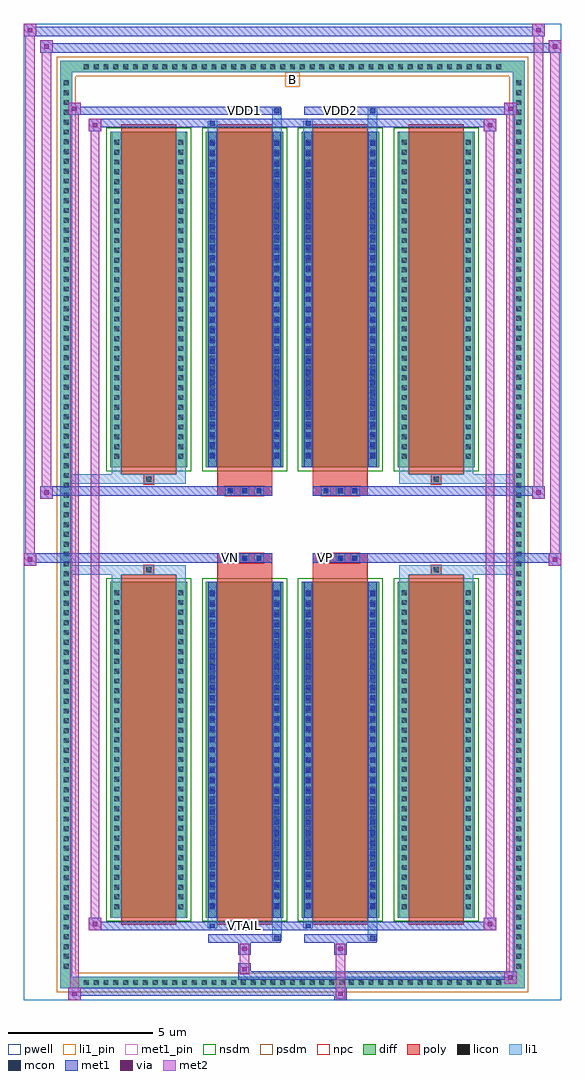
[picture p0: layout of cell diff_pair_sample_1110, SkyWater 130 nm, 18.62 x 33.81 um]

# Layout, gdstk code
import gdstk
lib = gdstk.Library(unit=1e-6, precision=5e-09)
def R(c, l, rs):  # rectangles x0, y0, x1, y1
    for r in rs: c.add(gdstk.rectangle(r[:2], r[2:], *l))
def A(c, l, x, y, w, h, nx, ny, dx, dy):  # array of equal rectangles
    R(c, l, [(x+i*dx, y+j*dy, x+i*dx+w, y+j*dy+h) for i in range(nx) for j in range(ny)])
def P(c, l, *ps):  # polygons
    for p in ps: c.add(gdstk.Polygon(p, *l))
pwell = (64, 44)
diff = (65, 20)
poly = (66, 20)
licon = (66, 44)
li1_pin = (67, 16)
li1 = (67, 20)
mcon = (67, 44)
met1_pin = (68, 16)
met1 = (68, 20)
via = (68, 44)
met2 = (69, 20)
nsdm = (93, 44)
psdm = (94, 20)
npc = (95, 20)

diff_pair_sample_1110 = lib.new_cell('diff_pair_sample_1110')
R(diff_pair_sample_1110, pwell, [(-9.31,-16.47,9.31,17.34), (-6.63,-14.66,-0.01,-0.8), (0.01,-14.66,6.63,-0.8), (-6.63,0.8,-0.01,14.66), (0.01,0.8,6.63,14.66)])
A(diff_pair_sample_1110, diff, -7.345, -16.07, 0.41, 0.41, 43, 2, 0.34, 31.73)
A(diff_pair_sample_1110, diff, -8.04, -15.505, 0.41, 0.41, 1, 91, 0, 0.34)
A(diff_pair_sample_1110, diff, 7.63, -15.505, 0.41, 0.41, 1, 91, 0, 0.34)
A(diff_pair_sample_1110, diff, -6.32, -13.615, 2.68, 11.63, 4, 2, 3.32, 15.6)
R(diff_pair_sample_1110, diff, [(-7.345,-16.07,7.345,-15.66), (-8.04,-15.505,-7.63,15.505), (7.63,-15.505,8.04,15.505), (-7.345,15.66,7.345,16.07)])
P(diff_pair_sample_1110, diff, [(8.04,16.07),(-8.04,16.07),(-8.04,-15.66),(-7.63,-15.66),(-7.63,15.66),(7.63,15.66),(7.63,-15.66),(-7.63,-15.66),(-8.04,-15.66),(-8.04,-16.07),(8.04,-16.07)])
A(diff_pair_sample_1110, poly, -5.93, -13.865, 1.9, 12.13, 4, 2, 3.32, 15.6)
A(diff_pair_sample_1110, poly, -2.325, -1.33, 0.33, 0.33, 3, 2, 0.5, 2.33)
A(diff_pair_sample_1110, poly, 0.995, -1.33, 0.33, 0.33, 3, 2, 0.5, 2.33)
R(diff_pair_sample_1110, poly, [(-5.145,-1.735,-4.815,-1.405), (-5.145,-1.735,-4.815,-1.405), (-2.61,-1.735,-0.71,-1.33), (0.71,-1.735,2.61,-1.33), (4.815,-1.735,5.145,-1.405), (4.815,-1.735,5.145,-1.405), (-2.61,-1.33,-0.71,-1), (0.71,-1.33,2.61,-1), (-2.61,1,-0.71,1.33), (0.71,1,2.61,1.33), (-2.61,1.33,-0.71,1.735), (0.71,1.33,2.61,1.735), (-5.145,1.405,-4.815,1.735), (-5.145,1.405,-4.815,1.735), (4.815,1.405,5.145,1.735), (4.815,1.405,5.145,1.735)])
A(diff_pair_sample_1110, licon, -7.225, -15.95, 0.17, 0.17, 43, 2, 0.34, 31.73)
A(diff_pair_sample_1110, licon, -7.92, -15.385, 0.17, 0.17, 1, 91, 0, 0.34)
A(diff_pair_sample_1110, licon, 7.75, -15.385, 0.17, 0.17, 1, 91, 0, 0.34)
A(diff_pair_sample_1110, licon, -6.18, -13.325, 0.17, 0.17, 1, 33, 0, 0.34)
A(diff_pair_sample_1110, licon, -3.95, -13.325, 0.17, 0.17, 1, 33, 0, 0.34)
A(diff_pair_sample_1110, licon, -2.86, -13.325, 0.17, 0.17, 1, 33, 0, 0.34)
A(diff_pair_sample_1110, licon, -0.63, -13.325, 0.17, 0.17, 1, 33, 0, 0.34)
A(diff_pair_sample_1110, licon, 0.46, -13.325, 0.17, 0.17, 1, 33, 0, 0.34)
A(diff_pair_sample_1110, licon, 2.69, -13.325, 0.17, 0.17, 1, 33, 0, 0.34)
A(diff_pair_sample_1110, licon, 3.78, -13.325, 0.17, 0.17, 1, 33, 0, 0.34)
A(diff_pair_sample_1110, licon, 6.01, -13.325, 0.17, 0.17, 1, 33, 0, 0.34)
A(diff_pair_sample_1110, licon, -2.245, -1.25, 0.17, 0.17, 3, 2, 0.5, 2.33)
A(diff_pair_sample_1110, licon, 1.075, -1.25, 0.17, 0.17, 3, 2, 0.5, 2.33)
A(diff_pair_sample_1110, licon, -6.18, 2.275, 0.17, 0.17, 1, 33, 0, 0.34)
A(diff_pair_sample_1110, licon, -3.95, 2.275, 0.17, 0.17, 1, 33, 0, 0.34)
A(diff_pair_sample_1110, licon, -2.86, 2.275, 0.17, 0.17, 1, 33, 0, 0.34)
A(diff_pair_sample_1110, licon, -0.63, 2.275, 0.17, 0.17, 1, 33, 0, 0.34)
A(diff_pair_sample_1110, licon, 0.46, 2.275, 0.17, 0.17, 1, 33, 0, 0.34)
A(diff_pair_sample_1110, licon, 2.69, 2.275, 0.17, 0.17, 1, 33, 0, 0.34)
A(diff_pair_sample_1110, licon, 3.78, 2.275, 0.17, 0.17, 1, 33, 0, 0.34)
A(diff_pair_sample_1110, licon, 6.01, 2.275, 0.17, 0.17, 1, 33, 0, 0.34)
R(diff_pair_sample_1110, licon, [(-5.065,-1.655,-4.895,-1.485), (4.895,-1.655,5.065,-1.485), (-5.065,1.485,-4.895,1.655), (4.895,1.485,5.065,1.655)])
R(diff_pair_sample_1110, li1_pin, [(-0.25,15.16,0.25,15.66)])
A(diff_pair_sample_1110, li1, -7.305, -16.03, 0.33, 0.33, 43, 2, 0.34, 31.73)
A(diff_pair_sample_1110, li1, -8, -15.465, 0.33, 0.33, 1, 91, 0, 0.34)
A(diff_pair_sample_1110, li1, 7.67, -15.465, 0.33, 0.33, 1, 91, 0, 0.34)
A(diff_pair_sample_1110, li1, -6.26, -13.405, 0.33, 0.33, 1, 33, 0, 0.34)
A(diff_pair_sample_1110, li1, -4.03, -13.405, 0.33, 0.33, 1, 33, 0, 0.34)
A(diff_pair_sample_1110, li1, -2.94, -13.405, 0.33, 0.33, 1, 33, 0, 0.34)
A(diff_pair_sample_1110, li1, -0.71, -13.405, 0.33, 0.33, 1, 33, 0, 0.34)
A(diff_pair_sample_1110, li1, 0.38, -13.405, 0.33, 0.33, 1, 33, 0, 0.34)
A(diff_pair_sample_1110, li1, 2.61, -13.405, 0.33, 0.33, 1, 33, 0, 0.34)
A(diff_pair_sample_1110, li1, 3.7, -13.405, 0.33, 0.33, 1, 33, 0, 0.34)
A(diff_pair_sample_1110, li1, 5.93, -13.405, 0.33, 0.33, 1, 33, 0, 0.34)
A(diff_pair_sample_1110, li1, -2.86, -13.285, 0.17, 0.17, 1, 31, 0, 0.36)
A(diff_pair_sample_1110, li1, -0.63, -13.285, 0.17, 0.17, 1, 31, 0, 0.36)
A(diff_pair_sample_1110, li1, 0.46, -13.285, 0.17, 0.17, 1, 31, 0, 0.36)
A(diff_pair_sample_1110, li1, 2.69, -13.285, 0.17, 0.17, 1, 31, 0, 0.36)
A(diff_pair_sample_1110, li1, -2.325, -1.33, 0.33, 0.33, 3, 2, 0.5, 2.33)
A(diff_pair_sample_1110, li1, 0.995, -1.33, 0.33, 0.33, 3, 2, 0.5, 2.33)
A(diff_pair_sample_1110, li1, -6.26, 2.195, 0.33, 0.33, 1, 33, 0, 0.34)
A(diff_pair_sample_1110, li1, -4.03, 2.195, 0.33, 0.33, 1, 33, 0, 0.34)
A(diff_pair_sample_1110, li1, -2.94, 2.195, 0.33, 0.33, 1, 33, 0, 0.34)
A(diff_pair_sample_1110, li1, -0.71, 2.195, 0.33, 0.33, 1, 33, 0, 0.34)
A(diff_pair_sample_1110, li1, 0.38, 2.195, 0.33, 0.33, 1, 33, 0, 0.34)
A(diff_pair_sample_1110, li1, 2.61, 2.195, 0.33, 0.33, 1, 33, 0, 0.34)
A(diff_pair_sample_1110, li1, 3.7, 2.195, 0.33, 0.33, 1, 33, 0, 0.34)
A(diff_pair_sample_1110, li1, 5.93, 2.195, 0.33, 0.33, 1, 33, 0, 0.34)
A(diff_pair_sample_1110, li1, -2.86, 2.315, 0.17, 0.17, 1, 31, 0, 0.36)
A(diff_pair_sample_1110, li1, -0.63, 2.315, 0.17, 0.17, 1, 31, 0, 0.36)
A(diff_pair_sample_1110, li1, 0.46, 2.315, 0.17, 0.17, 1, 31, 0, 0.36)
A(diff_pair_sample_1110, li1, 2.69, 2.315, 0.17, 0.17, 1, 31, 0, 0.36)
R(diff_pair_sample_1110, li1, [(-8.04,-16.07,-7.63,-15.66), (-8.04,-16.07,-7.63,-15.66), (-7.63,-16.07,7.63,-15.66), (7.63,-16.07,8.04,-15.66), (7.63,-16.07,8.04,-15.66), (-8.04,-15.66,-7.63,15.66), (7.63,-15.66,8.04,15.66), (-0.71,-14.42,-0.38,-13.615), (-0.63,-14.42,-0.46,-14.25), (2.61,-14.42,2.94,-13.615), (2.69,-14.42,2.86,-14.25), (-2.94,-13.99,-2.61,-13.615), (-2.86,-13.99,-2.69,-13.82), (0.38,-13.99,0.71,-13.615), (0.46,-13.99,0.63,-13.82), (-6.26,-13.615,-5.93,-1.985), (-4.03,-13.615,-3.7,-1.985), (-2.94,-13.615,-2.61,-1.985), (-0.71,-13.615,-0.38,-1.985), (0.38,-13.615,0.71,-1.985), (2.61,-13.615,2.94,-1.985), (3.7,-13.615,4.03,-1.985), (5.93,-13.615,6.26,-1.985), (-2.86,-13.285,-2.69,-2.315), (-0.63,-13.285,-0.46,-2.315), (0.46,-13.285,0.63,-2.315), (2.69,-13.285,2.86,-2.315), (-6.26,-1.985,-5.93,-1.405), (-4.03,-1.985,-3.7,-1.405), (3.7,-1.985,4.03,-1.405), (5.93,-1.985,6.26,-1.405), (-8.04,-1.735,-5.145,-1.405), (-6.26,-1.735,-5.145,-1.405), (-5.145,-1.735,-4.815,-1.405), (-4.815,-1.735,-3.7,-1.405), (3.7,-1.735,4.815,-1.405), (4.815,-1.735,5.145,-1.405), (4.815,-1.735,8.04,-1.405), (5.145,-1.735,6.26,-1.405), (-8.04,1.405,-5.145,1.735), (-6.26,1.405,-5.145,1.735), (-6.26,1.405,-5.93,1.985), (-5.145,1.405,-4.815,1.735), (-4.815,1.405,-3.7,1.735), (-4.03,1.405,-3.7,1.985), (3.7,1.405,4.815,1.735), (3.7,1.405,4.03,1.985), (4.815,1.405,5.145,1.735), (4.815,1.405,8.04,1.735), (5.145,1.405,6.26,1.735), (5.93,1.405,6.26,1.985), (-6.26,1.985,-5.93,13.615), (-4.03,1.985,-3.7,13.615), (-2.94,1.985,-2.61,13.615), (-0.71,1.985,-0.38,13.615), (0.38,1.985,0.71,13.615), (2.61,1.985,2.94,13.615), (3.7,1.985,4.03,13.615), (5.93,1.985,6.26,13.615), (-2.86,2.315,-2.69,13.285), (-0.63,2.315,-0.46,13.285), (0.46,2.315,0.63,13.285), (2.69,2.315,2.86,13.285), (-2.94,13.615,-2.61,13.99), (-0.71,13.615,-0.38,14.42), (0.38,13.615,0.71,13.99), (2.61,13.615,2.94,14.42), (-2.86,13.82,-2.69,13.99), (0.46,13.82,0.63,13.99), (-0.63,14.25,-0.46,14.42), (2.69,14.25,2.86,14.42), (-8.04,15.66,-7.63,16.07), (-8.04,15.66,-7.63,16.07), (-7.63,15.66,7.63,16.07), (7.63,15.66,8.04,16.07), (7.63,15.66,8.04,16.07)])
A(diff_pair_sample_1110, mcon, -2.86, -13.285, 0.17, 0.17, 1, 31, 0, 0.36)
A(diff_pair_sample_1110, mcon, -0.63, -13.285, 0.17, 0.17, 1, 31, 0, 0.36)
A(diff_pair_sample_1110, mcon, 0.46, -13.285, 0.17, 0.17, 1, 31, 0, 0.36)
A(diff_pair_sample_1110, mcon, 2.69, -13.285, 0.17, 0.17, 1, 31, 0, 0.36)
A(diff_pair_sample_1110, mcon, -2.245, -1.25, 0.17, 0.17, 3, 2, 0.5, 2.33)
A(diff_pair_sample_1110, mcon, 1.075, -1.25, 0.17, 0.17, 3, 2, 0.5, 2.33)
A(diff_pair_sample_1110, mcon, -2.86, 2.315, 0.17, 0.17, 1, 31, 0, 0.36)
A(diff_pair_sample_1110, mcon, -0.63, 2.315, 0.17, 0.17, 1, 31, 0, 0.36)
A(diff_pair_sample_1110, mcon, 0.46, 2.315, 0.17, 0.17, 1, 31, 0, 0.36)
A(diff_pair_sample_1110, mcon, 2.69, 2.315, 0.17, 0.17, 1, 31, 0, 0.36)
R(diff_pair_sample_1110, mcon, [(-0.63,-14.42,-0.46,-14.25), (2.69,-14.42,2.86,-14.25), (-2.86,-13.99,-2.69,-13.82), (0.46,-13.99,0.63,-13.82), (-2.86,13.82,-2.69,13.99), (0.46,13.82,0.63,13.99), (-0.63,14.25,-0.46,14.42), (2.69,14.25,2.86,14.42)])
R(diff_pair_sample_1110, met1_pin, [(-1.795,-14.03,-1.525,-13.76), (-2.295,-1.29,-2.025,-1.02), (1.025,-1.29,1.295,-1.02), (-1.795,14.21,-1.525,14.48), (1.525,14.21,1.795,14.48)])
A(diff_pair_sample_1110, met1, -2.92, -13.345, 0.29, 0.29, 1, 31, 0, 0.36)
A(diff_pair_sample_1110, met1, -0.69, -13.345, 0.29, 0.29, 1, 31, 0, 0.36)
A(diff_pair_sample_1110, met1, 0.4, -13.345, 0.29, 0.29, 1, 31, 0, 0.36)
A(diff_pair_sample_1110, met1, 2.63, -13.345, 0.29, 0.29, 1, 31, 0, 0.36)
A(diff_pair_sample_1110, met1, -2.305, -1.31, 0.29, 0.29, 3, 2, 0.5, 2.33)
A(diff_pair_sample_1110, met1, 1.015, -1.31, 0.29, 0.29, 3, 2, 0.5, 2.33)
A(diff_pair_sample_1110, met1, -2.92, 2.255, 0.29, 0.29, 1, 31, 0, 0.36)
A(diff_pair_sample_1110, met1, -0.69, 2.255, 0.29, 0.29, 1, 31, 0, 0.36)
A(diff_pair_sample_1110, met1, 0.4, 2.255, 0.29, 0.29, 1, 31, 0, 0.36)
A(diff_pair_sample_1110, met1, 2.63, 2.255, 0.29, 0.29, 1, 31, 0, 0.36)
R(diff_pair_sample_1110, met1, [(-7.77,-16.47,-7.34,-16.04), (1.445,-16.47,1.875,-16.04), (-7.77,-16.33,1.875,-16.04), (7.34,-15.9,7.77,-15.47), (-1.875,-15.76,7.77,-15.47), (-1.875,-15.62,-1.445,-15.19), (-1.875,-14.91,-1.445,-14.48), (1.445,-14.91,1.875,-14.48), (-2.92,-14.48,-0.4,-14.19), (-0.69,-14.48,-0.4,-14.19), (0.4,-14.48,2.92,-14.19), (2.63,-14.48,2.92,-14.19), (-7.06,-14.05,-6.63,-13.62), (-7.06,-14.05,-2.92,-13.76), (-2.92,-14.05,-2.63,-13.76), (-2.92,-14.05,-0.4,-13.76), (-0.4,-14.05,0.4,-13.76), (0.4,-14.05,0.69,-13.76), (0.4,-14.05,2.92,-13.76), (2.92,-14.05,7.06,-13.76), (6.63,-14.05,7.06,-13.62), (-2.92,-13.615,-2.63,-1.985), (-0.69,-13.615,-0.4,-1.985), (0.4,-13.615,0.69,-1.985), (2.63,-13.615,2.92,-1.985), (-9.31,-1.43,-8.88,-1), (8.88,-1.43,9.31,-1), (-9.31,-1.33,-0.71,-1), (-2.61,-1.33,-0.71,-1), (0.71,-1.33,2.61,-1), (0.71,-1.33,9.31,-1), (-8.74,0.9,-8.31,1.33), (8.31,0.9,8.74,1.33), (-8.74,1,-2.61,1.33), (-2.61,1,-0.71,1.33), (0.71,1,2.61,1.33), (2.61,1,8.74,1.33), (-2.92,1.985,-2.63,13.615), (-0.69,1.985,-0.4,13.615), (0.4,1.985,0.69,13.615), (2.63,1.985,2.92,13.615), (-7.06,13.62,-6.63,14.05), (6.63,13.62,7.06,14.05), (-7.06,13.76,-2.92,14.05), (-2.92,13.76,-2.63,14.05), (-2.92,13.76,-0.4,14.05), (-0.4,13.76,0.4,14.05), (0.4,13.76,0.69,14.05), (0.4,13.76,2.92,14.05), (2.92,13.76,7.06,14.05), (-7.77,14.19,-7.34,14.62), (-7.77,14.19,-2.92,14.48), (-2.92,14.19,-0.4,14.48), (-0.69,14.19,-0.4,14.48), (0.4,14.19,2.92,14.48), (2.63,14.19,2.92,14.48), (2.92,14.19,7.77,14.48), (7.34,14.19,7.77,14.62), (-8.74,16.34,-8.31,16.77), (-8.74,16.34,-6.63,16.67), (-6.63,16.34,6.63,16.67), (6.63,16.34,9.31,16.67), (8.88,16.34,9.31,16.77), (-9.31,16.91,-8.88,17.34), (-9.31,16.91,-6.63,17.24), (-6.63,16.91,6.63,17.24), (6.63,16.91,8.74,17.24), (8.31,16.91,8.74,17.34)])
R(diff_pair_sample_1110, via, [(-7.63,-16.33,-7.48,-16.18), (1.585,-16.33,1.735,-16.18), (7.48,-15.76,7.63,-15.61), (-1.735,-15.48,-1.585,-15.33), (-1.735,-14.77,-1.585,-14.62), (1.585,-14.77,1.735,-14.62), (-6.92,-13.91,-6.77,-13.76), (6.77,-13.91,6.92,-13.76), (-9.17,-1.29,-9.02,-1.14), (9.02,-1.29,9.17,-1.14), (-8.6,1.04,-8.45,1.19), (8.45,1.04,8.6,1.19), (-6.92,13.76,-6.77,13.91), (6.77,13.76,6.92,13.91), (-7.63,14.33,-7.48,14.48), (7.48,14.33,7.63,14.48), (-8.6,16.48,-8.45,16.63), (9.02,16.48,9.17,16.63), (-9.17,17.05,-9.02,17.2), (8.45,17.05,8.6,17.2)])
R(diff_pair_sample_1110, met2, [(-7.77,-16.47,-7.34,-16.04), (-7.7,-16.47,-7.41,14.62), (-7.41,-16.47,-7.34,-16.04), (-7.72,-16.42,-7.39,-16.09), (1.495,-16.42,1.825,-16.09), (1.495,-16.09,1.825,-14.86), (7.34,-15.9,7.77,-15.47), (7.41,-15.9,7.7,14.62), (7.7,-15.9,7.77,-15.47), (7.39,-15.85,7.72,-15.52), (-1.825,-15.57,-1.495,-15.24), (-1.825,-15.24,-1.495,-14.86), (-1.825,-14.86,-1.495,-14.53), (1.495,-14.86,1.825,-14.53), (-7.06,-14.05,-6.63,-13.62), (-6.99,-14.05,-6.7,14.05), (-6.7,-14.05,-6.63,-13.62), (6.63,-14.05,7.06,-13.62), (6.7,-14.05,6.99,14.05), (6.99,-14.05,7.06,-13.62), (-7.01,-14,-6.68,-13.67), (6.68,-14,7.01,-13.67), (-9.31,-1.43,-8.88,-1), (-9.26,-1.43,-8.93,17.34), (-8.93,-1.43,-8.88,-1), (8.88,-1.43,9.31,-1), (8.93,-1.43,9.26,16.77), (9.26,-1.43,9.31,-1), (-9.26,-1.38,-8.93,-1.05), (8.93,-1.38,9.26,-1.05), (-8.74,0.9,-8.31,1.33), (-8.69,0.9,-8.36,16.77), (-8.36,0.9,-8.31,1.33), (8.31,0.9,8.74,1.33), (8.36,0.9,8.69,17.34), (8.69,0.9,8.74,1.33), (-8.69,0.95,-8.36,1.28), (8.36,0.95,8.69,1.28), (-7.06,13.62,-6.63,14.05), (-6.7,13.62,-6.63,14.05), (6.63,13.62,7.06,14.05), (6.99,13.62,7.06,14.05), (-7.01,13.67,-6.68,14), (6.68,13.67,7.01,14), (-7.77,14.19,-7.34,14.62), (-7.41,14.19,-7.34,14.62), (7.34,14.19,7.77,14.62), (7.7,14.19,7.77,14.62), (-7.72,14.24,-7.39,14.57), (7.39,14.24,7.72,14.57), (-8.74,16.34,-8.31,16.77), (-8.36,16.34,-8.31,16.77), (8.88,16.34,9.31,16.77), (9.26,16.34,9.31,16.77), (-8.69,16.39,-8.36,16.72), (8.93,16.39,9.26,16.72), (-9.31,16.91,-8.88,17.34), (-8.93,16.91,-8.88,17.34), (8.31,16.91,8.74,17.34), (8.69,16.91,8.74,17.34), (-9.26,16.96,-8.93,17.29), (8.36,16.96,8.69,17.29)])
A(diff_pair_sample_1110, nsdm, -6.45, -13.745, 2.94, 11.89, 4, 2, 3.32, 15.6)
P(diff_pair_sample_1110, psdm, [(8.17,16.2),(-8.17,16.2),(-8.17,-15.53),(-7.5,-15.53),(-7.5,15.53),(7.5,15.53),(7.5,-15.53),(-7.5,-15.53),(-8.17,-15.53),(-8.17,-16.2),(8.17,-16.2)])
A(diff_pair_sample_1110, npc, -2.345, -1.35, 0.37, 0.37, 3, 2, 0.5, 2.33)
A(diff_pair_sample_1110, npc, 0.975, -1.35, 0.37, 0.37, 3, 2, 0.5, 2.33)
R(diff_pair_sample_1110, npc, [(-5.165,-1.755,-4.795,-1.385), (4.795,-1.755,5.165,-1.385), (-2.345,-1.35,-1.475,-0.98), (-2.345,-1.35,-1.475,-0.98), (-1.845,-1.35,-0.975,-0.98), (-1.845,-1.35,-0.975,-0.98), (0.975,-1.35,1.845,-0.98), (0.975,-1.35,1.845,-0.98), (1.475,-1.35,2.345,-0.98), (1.475,-1.35,2.345,-0.98), (-2.345,0.98,-1.475,1.35), (-2.345,0.98,-1.475,1.35), (-1.845,0.98,-0.975,1.35), (-1.845,0.98,-0.975,1.35), (0.975,0.98,1.845,1.35), (0.975,0.98,1.845,1.35), (1.475,0.98,2.345,1.35), (1.475,0.98,2.345,1.35), (-5.165,1.385,-4.795,1.755), (4.795,1.385,5.165,1.755)])
diff_pair_sample_1110.add(gdstk.Label('VTAIL', (-1.66,-13.895), layer=68, texttype=5))
diff_pair_sample_1110.add(gdstk.Label('VN', (-2.16,-1.155), layer=68, texttype=5))
diff_pair_sample_1110.add(gdstk.Label('VP', (1.16,-1.155), layer=68, texttype=5))
diff_pair_sample_1110.add(gdstk.Label('B', (0,15.41), layer=67, texttype=5))
diff_pair_sample_1110.add(gdstk.Label('VDD2', (1.66,14.345), layer=68, texttype=5))
diff_pair_sample_1110.add(gdstk.Label('VDD1', (-1.66,14.345), layer=68, texttype=5))

lib.write_gds('diff_pair_sample_1110.gds')
